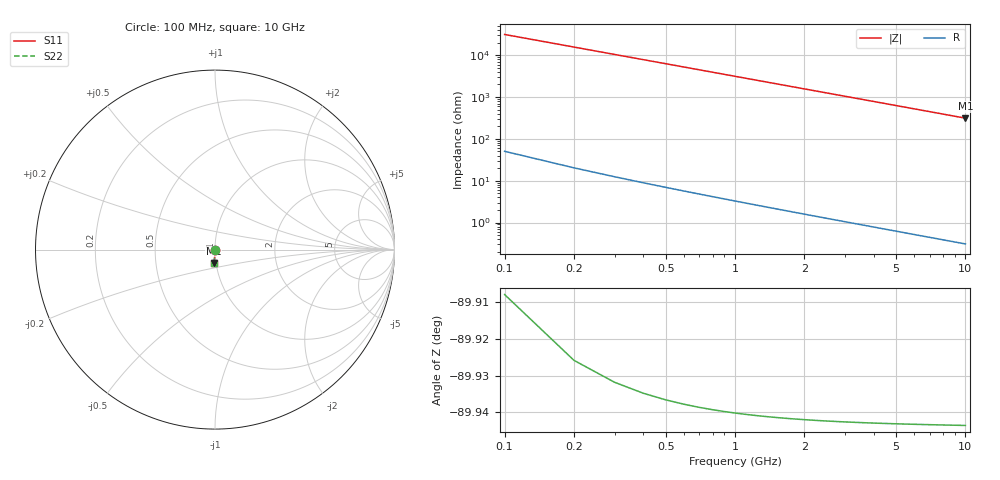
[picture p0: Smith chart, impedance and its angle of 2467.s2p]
# Hz S RI R 50.00
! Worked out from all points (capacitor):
!   100 points, 100 MHz to 10 GHz, reference 50 ohm
!   read as one part in shunt: C = 50.7 fF near 100 MHz
!   lowest |Z| = 313 ohm at 10 GHz (marker M1)
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1e8  5.28e-05 -0.000744  0.9999 -0.000848  0.9999 -0.000848  5.28e-05 -0.000744
2e8  5.05e-05 -0.00149  0.9999 -0.0017  0.9999 -0.0017  5.05e-05 -0.00149
3e8  4.69e-05 -0.00223  0.9999 -0.00254  0.9999 -0.00254  4.69e-05 -0.00223
4e8  4.19e-05 -0.00297  0.9999 -0.00339  0.9999 -0.00339  4.19e-05 -0.00297
5e8  3.56e-05 -0.00372  0.9999 -0.00424  0.9999 -0.00424  3.56e-05 -0.00372
6e8  2.81e-05 -0.00446  0.9999 -0.00509  0.9999 -0.00509  2.81e-05 -0.00446
7e8  1.93e-05 -0.0052  0.9999 -0.00594  0.9999 -0.00594  1.93e-05 -0.0052
8e8  9.19e-06 -0.00595  0.9999 -0.00678  0.9999 -0.00678  9.19e-06 -0.00595
9e8  -2.17e-06 -0.00669  0.9999 -0.00763  0.9999 -0.00763  -2.17e-06 -0.00669
1.1e9  -2.87e-05 -0.00818  0.9999 -0.00933  0.9999 -0.00933  -2.87e-05 -0.00818
1.4e9  -7.8e-05 -0.0104  0.9998 -0.0119  0.9998 -0.0119  -7.8e-05 -0.0104
1.8e9  -0.000161 -0.0134  0.9997 -0.0153  0.9997 -0.0153  -0.000161 -0.0134
2.1e9  -0.000237 -0.0156  0.9996 -0.0178  0.9996 -0.0178  -0.000237 -0.0156
2.5e9  -0.000356 -0.0186  0.9995 -0.0212  0.9995 -0.0212  -0.000356 -0.0186
2.9e9  -0.000495 -0.0216  0.9994 -0.0246  0.9994 -0.0246  -0.000495 -0.0216
3.4e9  -0.000697 -0.0253  0.9992 -0.0288  0.9992 -0.0288  -0.000697 -0.0253
4.2e9  -0.00109 -0.0312  0.9988 -0.0356  0.9988 -0.0356  -0.00109 -0.0312
5.1e9  -0.00162 -0.0379  0.9982 -0.0432  0.9982 -0.0432  -0.00162 -0.0379
5.9e9  -0.00218 -0.0438  0.9977 -0.05  0.9977 -0.05  -0.00218 -0.0438
6.7e9  -0.00282 -0.0497  0.997 -0.0568  0.997 -0.0568  -0.00282 -0.0497
8.4e9  -0.00445 -0.0623  0.9954 -0.0711  0.9954 -0.0711  -0.00445 -0.0623
1e10  -0.00632 -0.0741  0.9935 -0.0845  0.9935 -0.0845  -0.00632 -0.0741
